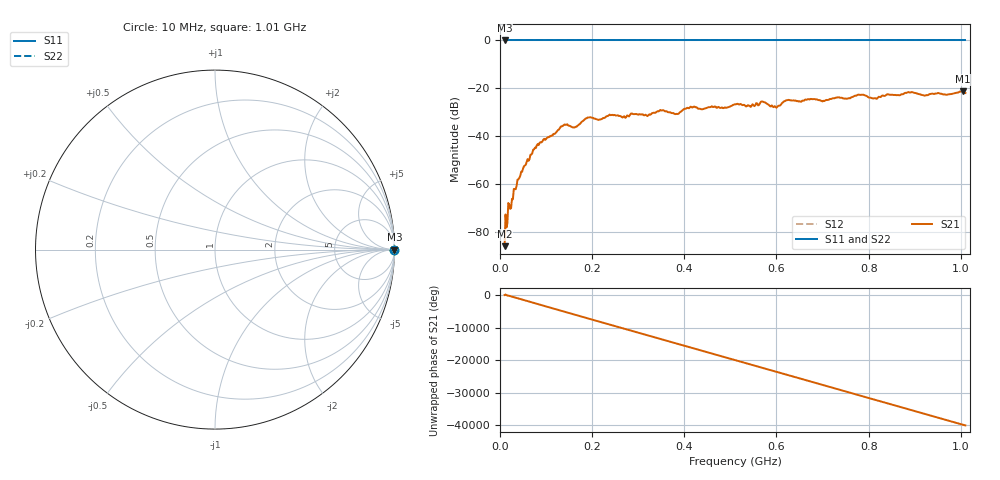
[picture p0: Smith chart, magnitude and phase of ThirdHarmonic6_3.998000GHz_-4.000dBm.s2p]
! 8/17/2025 2:16:31 PM
! C:\ANRITSUVNA\TEMP\TEMP.S2P
! CHANNEL.1
! TR.MEASUREMENT
! RAW.DATA
! RF.CORRECTION.OFF
! AVERAGING.OFF
! IF.BANDWIDTH: 5KHZ
! SWEEPTYPE:  FREQ.SWEEP(Linear)
! Reference Plane Port Info
! PORT:  PORT1  PORT2
! DISTANCE:  0  m  0  m
! TIME:  0  s  0  s
! PHASE.OFFSET:  0  deg.  0  deg.
! LOSS:  0  dB  0  dB
! REF.LOSS:  0  dB  0  dB
! REF.FREQ:  0  Hz  0  Hz
! Power Info
! POWER:  -20  dBm  -20  dBm
! EFF.POWER:  -20  dBm  -20  dBm
! SOURCE.ATTEN:  0  dB  0  dB
! TEST.ATTEN:  0  dB  0  dB
# GHZ S RI R 50.0
! FREQ.GHZ  S11RE  S11IM  S21RE  S21IM  S12RE  S12IM  S22RE  S22IM
!; PortSelection: Port_12
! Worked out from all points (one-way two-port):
!   501 points, 10 MHz to 1.01 GHz, reference 50 ohm
!   highest |S21| = -21.27 dB at 1.004 GHz (marker M1); lowest = -85.8 dB at 10 MHz (marker M2)
!   lowest |S11| = 0.0 dB at 10 MHz (marker M3)
!   |S11| at or under -10 dB: nowhere
!   |S22| runs from 0.0 to 0.0 dB; largest |S21 - S12| = 1.1
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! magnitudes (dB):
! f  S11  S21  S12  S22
! 10 MHz  0.0  -85.8  0.0  0.0
! 22 MHz  0.0  -70.2  0.0  0.0
! 42 MHz  0.0  -57.3  0.0  0.0
! 76 MHz  0.0  -44.7  0.0  0.0
! 136 MHz  0.0  -35.7  0.0  0.0
! 162 MHz  0.0  -36.3  0.0  0.0
! 178 MHz  0.0  -33.8  0.0  0.0
! 194 MHz  0.0  -32.1  0.0  0.0
! 318 MHz  0.0  -31.3  0.0  0.0
! 344 MHz  0.0  -29.6  0.0  0.0
! 384 MHz  0.0  -30.6  0.0  0.0
! 418 MHz  0.0  -27.9  0.0  0.0
! 510 MHz  0.0  -26.6  0.0  0.0
! 570 MHz  0.0  -25.5  0.0  0.0
! 598 MHz  0.0  -27.7  0.0  0.0
! 624 MHz  0.0  -24.9  0.0  0.0
! 678 MHz  0.0  -24.5  0.0  0.0
! 782 MHz  0.0  -22.7  0.0  0.0
! 814 MHz  0.0  -24.1  0.0  0.0
! 844 MHz  0.0  -22.6  0.0  0.0
! 1.004 GHz  0.0  -21.3  0.0  0.0
! 1.01 GHz  0.0  -21.9  0.0  0.0
